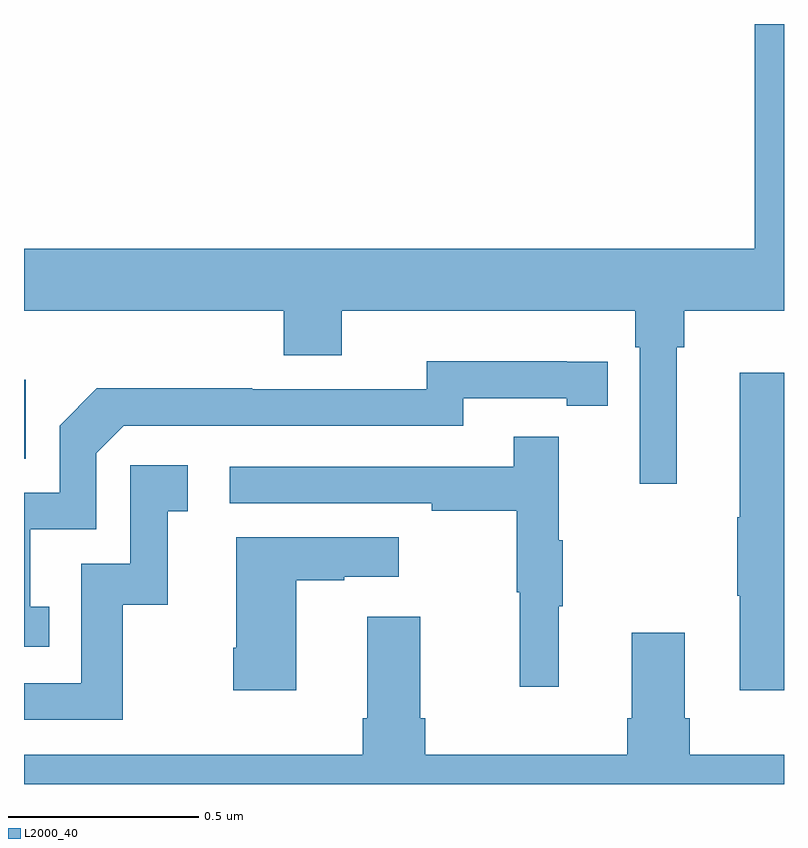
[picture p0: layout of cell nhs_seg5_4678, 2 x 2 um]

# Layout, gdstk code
import gdstk
lib = gdstk.Library(unit=1e-6, precision=1e-09)
def R(c, l, rs):  # rectangles x0, y0, x1, y1
    for r in rs: c.add(gdstk.rectangle(r[:2], r[2:], *l))
def P(c, l, *ps):  # polygons
    for p in ps: c.add(gdstk.Polygon(p, *l))
L2000_40 = (2000, 40)

nhs_seg5_4678 = lib.new_cell('nhs_seg5_4678')
R(nhs_seg5_4678, L2000_40, [(173,905.655,173.004,905.863)])
P(nhs_seg5_4678, L2000_40, [(174.718,905.948),(174.737,905.948),(174.737,906.044),(175,906.044),(175,906.799),(174.923,906.799),(174.923,906.208),(173,906.208),(173,906.044),(173.684,906.044),(173.684,905.927),(173.836,905.927),(173.836,906.044),(174.608,906.044),(174.608,905.948),(174.621,905.948),(174.621,905.589),(174.718,905.589)],
  [(173.066,905.265),(173.017,905.265),(173.017,905.469),(173.19,905.469),(173.19,905.67),(173.262,905.742),(174.156,905.742),(174.156,905.814),(174.428,905.814),(174.428,905.794),(174.536,905.794),(174.536,905.91),(174.428,905.91),(174.428,905.911),(174.06,905.911),(174.06,905.838),(173.6,905.838),(173.6,905.84),(173.192,905.84),(173.094,905.742),(173.094,905.565),(173,905.565),(173,905.16),(173.066,905.16)],
  [(175,905.881),(174.884,905.881),(174.884,905.501),(174.877,905.501),(174.877,905.295),(174.884,905.295),(174.884,905.046),(175,905.046)],
  [(174.407,905.267),(174.418,905.267),(174.418,905.441),(174.407,905.441),(174.407,905.713),(174.289,905.713),(174.289,905.634),(173.541,905.634),(173.541,905.538),(174.073,905.538),(174.073,905.518),(174.297,905.518),(174.297,905.304),(174.304,905.304),(174.304,905.055),(174.407,905.055)],
  [(173.26,905.271),(173.378,905.271),(173.378,905.517),(173.431,905.517),(173.431,905.638),(173.28,905.638),(173.28,905.379),(173.151,905.379),(173.151,905.064),(173,905.064),(173,904.968),(173.26,904.968)],
  [(173.716,905.335),(173.843,905.335),(173.843,905.345),(173.986,905.345),(173.986,905.449),(173.558,905.449),(173.558,905.158),(173.551,905.158),(173.551,905.046),(173.716,905.046)],
  [(175,904.876),(174.752,904.876),(174.752,904.972),(174.739,904.972),(174.739,905.197),(174.599,905.197),(174.599,904.972),(174.587,904.972),(174.587,904.876),(174.056,904.876),(174.056,904.972),(174.043,904.972),(174.043,905.239),(173.903,905.239),(173.903,904.972),(173.891,904.972),(173.891,904.876),(173,904.876),(173,904.799),(175,904.799)])

lib.write_gds('nhs_seg5_4678.gds')
